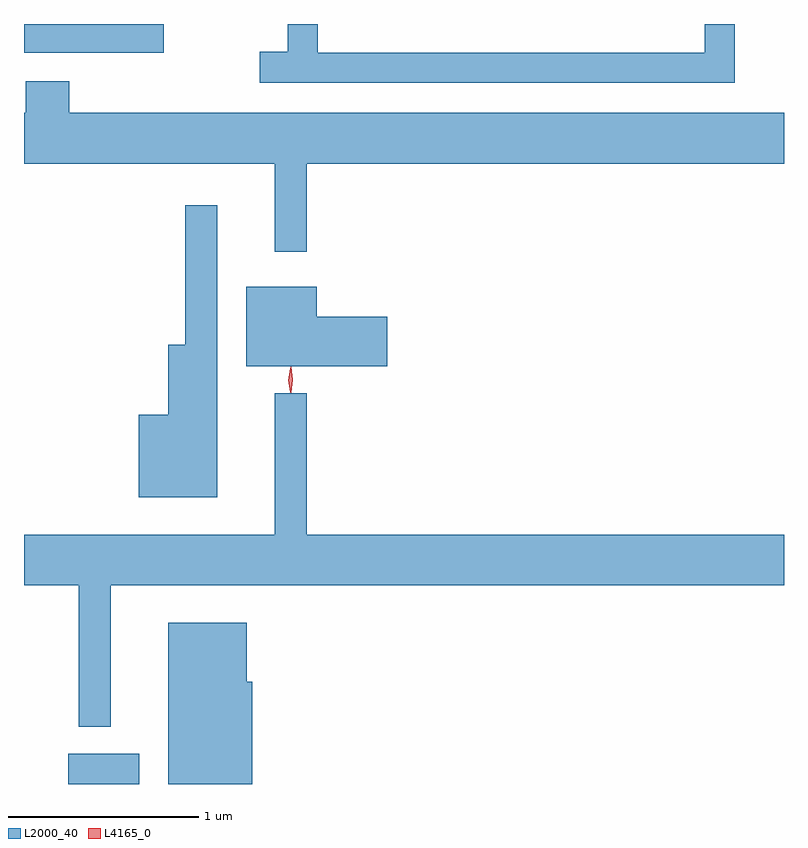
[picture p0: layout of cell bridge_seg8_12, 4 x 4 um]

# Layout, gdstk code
import gdstk
lib = gdstk.Library(unit=1e-6, precision=1e-09)
def R(c, l, rs):  # rectangles x0, y0, x1, y1
    for r in rs: c.add(gdstk.rectangle(r[:2], r[2:], *l))
def P(c, l, *ps):  # polygons
    for p in ps: c.add(gdstk.Polygon(p, *l))
L2000_40 = (2000, 40)
L4165_0 = (4165, 0)

bridge_seg8_12 = lib.new_cell('bridge_seg8_12')
R(bridge_seg8_12, L2000_40, [(1741.546,1886.431,1741.919,1886.589), (1741.312,1890.281,1742.048,1890.431)])
P(bridge_seg8_12, L2000_40, [(1745.054,1890.431),(1744.896,1890.431),(1744.896,1890.279),(1742.859,1890.279),(1742.859,1890.431),(1742.701,1890.431),(1742.701,1890.284),(1742.553,1890.284),(1742.553,1890.121),(1745.054,1890.121)],
  [(1742.799,1889.696),(1745.312,1889.696),(1745.312,1889.964),(1741.549,1889.964),(1741.549,1890.129),(1741.321,1890.129),(1741.321,1889.964),(1741.312,1889.964),(1741.312,1889.696),(1742.631,1889.696),(1742.631,1889.233),(1742.799,1889.233)],
  [(1742.329,1889.478),(1742.161,1889.478),(1742.161,1888.744),(1742.071,1888.744),(1742.071,1888.374),(1741.916,1888.374),(1741.916,1887.941),(1742.329,1887.941)],
  [(1743.224,1888.889),(1742.854,1888.889),(1742.854,1889.049),(1742.481,1889.049),(1742.481,1888.631),(1743.224,1888.631)],
  [(1741.769,1887.476),(1745.312,1887.476),(1745.312,1887.744),(1742.799,1887.744),(1742.799,1888.488),(1742.631,1888.488),(1742.631,1887.744),(1741.312,1887.744),(1741.312,1887.476),(1741.601,1887.476),(1741.601,1886.733),(1741.769,1886.733)],
  [(1742.514,1886.969),(1742.484,1886.969),(1742.484,1887.279),(1742.071,1887.279),(1742.071,1886.431),(1742.514,1886.431)])
P(bridge_seg8_12, L4165_0, [(1742.717,1888.49),(1742.717,1888.49),(1742.707,1888.558),(1742.717,1888.626),(1742.717,1888.626),(1742.718,1888.626),(1742.727,1888.558),(1742.718,1888.49)],
  [(1742.712,1888.493),(1742.702,1888.556),(1742.712,1888.619),(1742.712,1888.62),(1742.713,1888.619),(1742.722,1888.556),(1742.713,1888.493),(1742.713,1888.493)])

lib.write_gds('bridge_seg8_12.gds')
